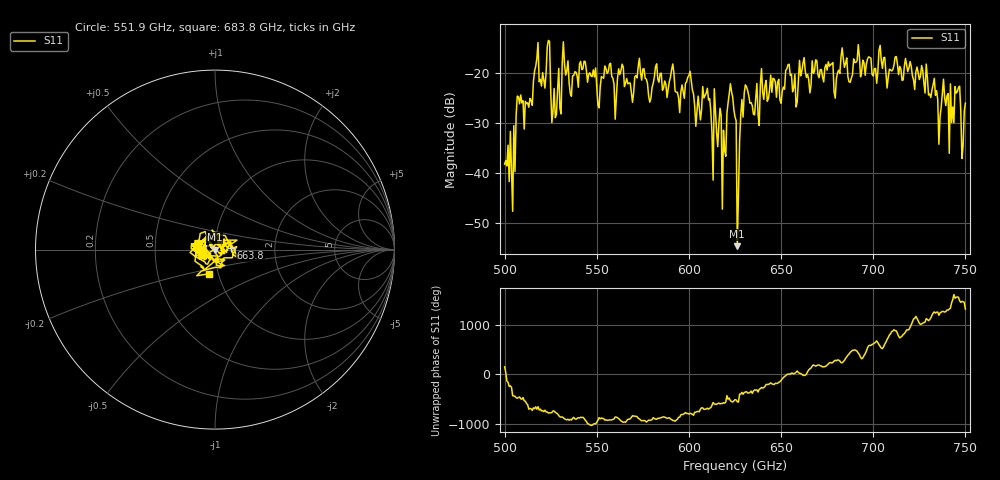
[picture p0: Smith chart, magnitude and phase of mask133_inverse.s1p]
!Created with skrf (http://scikit-rf.org).
# GHz S MA R 50.0
!freq magS11 angS11
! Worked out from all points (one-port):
!   401 points, 500 GHz to 750 GHz, reference 50 ohm
!   lowest |S11| = -54.6 dB at 626.2 GHz (marker M1), VSWR 1.00, Z = 49.8 + j0.0302 ohm
!   |S11| at or under -10 dB: start of sweep to end of sweep
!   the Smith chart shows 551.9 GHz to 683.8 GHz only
!   S11 on the Smith chart (normalised r, x): 551.9 GHz: 0.87, -0.02; 663.8 GHz: 1.20, +0.02; 683.8 GHz: 0.90, -0.25
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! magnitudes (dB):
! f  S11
! 500 GHz  -38.2
! 505 GHz  -30.5
! 507.5 GHz  -24.8
! 513.8 GHz  -25.1
! 516.9 GHz  -18.7
! 523.8 GHz  -13.5
! 526.9 GHz  -23.1
! 531.2 GHz  -18.1
! 542.5 GHz  -19.2
! 551.9 GHz  -22.8
! 562.5 GHz  -20.3
! 578.8 GHz  -25.9
! 590.6 GHz  -19.3
! 593.8 GHz  -23.9
! 608.8 GHz  -24.6
! 618.8 GHz  -31.5
! 622.5 GHz  -22.2
! 625 GHz  -28.8
! 626.2 GHz  -54.6
! 631.2 GHz  -22.8
! 656.2 GHz  -23.8
! 663.8 GHz  -20.9
! 680 GHz  -21.2
! 683.8 GHz  -17.1
! 687.5 GHz  -21.9
! 718.8 GHz  -19.8
! 735.6 GHz  -34.3
! 750 GHz  -26.1
